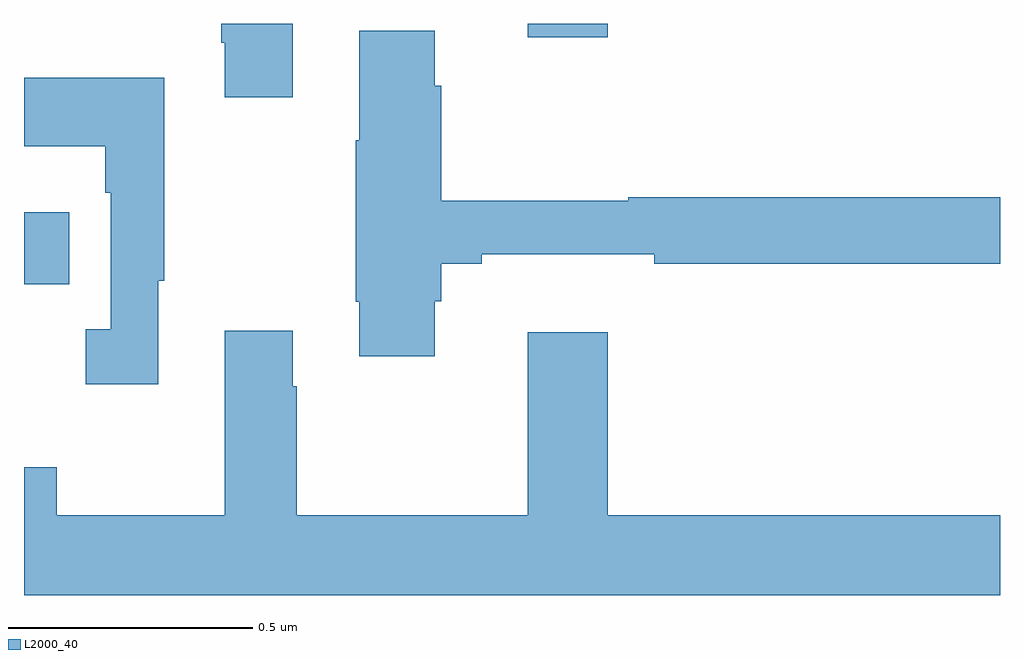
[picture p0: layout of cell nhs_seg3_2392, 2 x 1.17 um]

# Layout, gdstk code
import gdstk
lib = gdstk.Library(unit=1e-6, precision=1e-09)
def R(c, l, rs):  # rectangles x0, y0, x1, y1
    for r in rs: c.add(gdstk.rectangle(r[:2], r[2:], *l))
def P(c, l, *ps):  # polygons
    for p in ps: c.add(gdstk.Polygon(p, *l))
L2000_40 = (2000, 40)

nhs_seg3_2392 = lib.new_cell('nhs_seg3_2392')
R(nhs_seg3_2392, L2000_40, [(140,722.866,140.093,723.013), (141.032,723.372,141.196,723.4)])
P(nhs_seg3_2392, L2000_40, [(140.551,723.4),(140.404,723.4),(140.404,723.361),(140.411,723.361),(140.411,723.249),(140.551,723.249)],
  [(140.842,722.831),(140.855,722.831),(140.855,722.908),(140.938,722.908),(140.938,722.927),(141.292,722.927),(141.292,722.908),(142,722.908),(142,723.044),(141.238,723.044),(141.238,723.037),(140.855,723.037),(140.855,723.272),(140.842,723.272),(140.842,723.385),(140.687,723.385),(140.687,723.161),(140.68,723.161),(140.68,722.83),(140.687,722.83),(140.687,722.718),(140.842,722.718)],
  [(140.275,722.873),(140.287,722.873),(140.287,723.289),(140,723.289),(140,723.149),(140.166,723.149),(140.166,723.053),(140.178,723.053),(140.178,722.774),(140.127,722.774),(140.127,722.661),(140.275,722.661)],
  [(142,722.392),(141.196,722.392),(141.196,722.767),(141.032,722.767),(141.032,722.392),(140.559,722.392),(140.559,722.657),(140.551,722.657),(140.551,722.77),(140.411,722.77),(140.411,722.392),(140.067,722.392),(140.067,722.491),(140,722.491),(140,722.228),(142,722.228)])

lib.write_gds('nhs_seg3_2392.gds')
